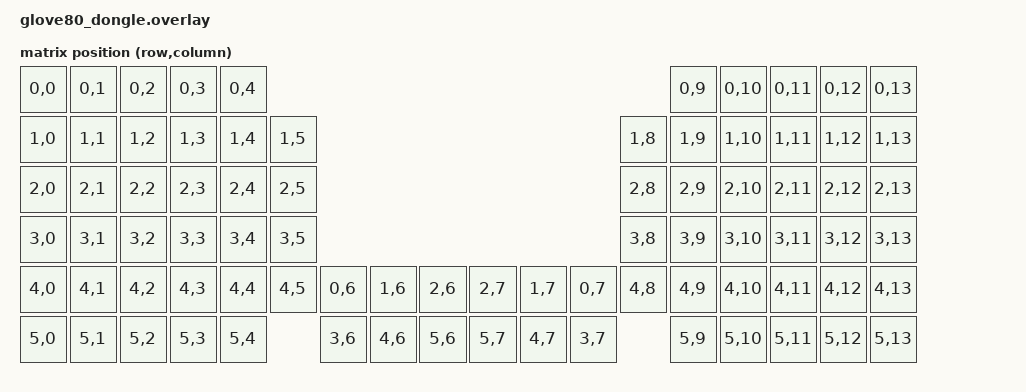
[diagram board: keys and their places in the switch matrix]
// Dongle central for Glove80 three-device split.
// Provides the Glove80 matrix transform so the keymap can reference all 80 key positions.
// No kscan needed: actual key scanning is done by the left and right peripheral halves.
//
// QSPI flash config mirrors what the moergo ZMK fork's seeeduino_xiao_ble.overlay
// provides, but that overlay is removed in the Nix preConfigure hook to avoid
// a duplicate-output error caused by BOARD_ROOT equalling APPLICATION_SOURCE_DIR.
// Battery monitoring is omitted — the dongle is USB-powered.

#include <dt-bindings/zmk/matrix_transform.h>

/ {
    chosen {
        zmk,matrix-transform = &glove80_matrix_transform;
    };

    glove80_matrix_transform: keymap_transform_0 {
        compatible = "zmk,matrix-transform";
        columns = <14>;
        rows = <6>;
        map = <
            RC(0,0) RC(0,1) RC(0,2) RC(0,3) RC(0,4)                                                                    RC(0,9) RC(0,10) RC(0,11) RC(0,12) RC(0,13)
            RC(1,0) RC(1,1) RC(1,2) RC(1,3) RC(1,4) RC(1,5)                                                    RC(1,8) RC(1,9) RC(1,10) RC(1,11) RC(1,12) RC(1,13)
            RC(2,0) RC(2,1) RC(2,2) RC(2,3) RC(2,4) RC(2,5)                                                    RC(2,8) RC(2,9) RC(2,10) RC(2,11) RC(2,12) RC(2,13)
            RC(3,0) RC(3,1) RC(3,2) RC(3,3) RC(3,4) RC(3,5)                                                    RC(3,8) RC(3,9) RC(3,10) RC(3,11) RC(3,12) RC(3,13)
            RC(4,0) RC(4,1) RC(4,2) RC(4,3) RC(4,4) RC(4,5) RC(0,6) RC(1,6) RC(2,6)   RC(2,7) RC(1,7)  RC(0,7) RC(4,8) RC(4,9) RC(4,10) RC(4,11) RC(4,12) RC(4,13)
            RC(5,0) RC(5,1) RC(5,2) RC(5,3) RC(5,4)         RC(3,6) RC(4,6) RC(5,6)   RC(5,7) RC(4,7)  RC(3,7)         RC(5,9) RC(5,10) RC(5,11) RC(5,12) RC(5,13)
        >;
    };
};

// QSPI NOR flash for ZMK settings storage (BLE profiles, etc.)
&xiao_serial { status = "disabled"; };

&qspi {
    status = "okay";
    pinctrl-0 = <&qspi_default>;
    pinctrl-1 = <&qspi_sleep>;
    pinctrl-names = "default", "sleep";
    p25q16h: p25q16h@0 {
        compatible = "nordic,qspi-nor";
        reg = <0>;
        sck-frequency = <104000000>;
        quad-enable-requirements = "S2B1v1";
        jedec-id = [85 60 15];
        sfdp-bfp = [
            e5 20 f1 ff  ff ff ff 00  44 eb 08 6b  08 3b 80 bb
            ee ff ff ff  ff ff 00 ff  ff ff 00 ff  0c 20 0f 52
            10 d8 08 81
        ];
        size = <16777216>;
        has-dpd;
        t-enter-dpd = <3000>;
        t-exit-dpd = <8000>;
    };
};
